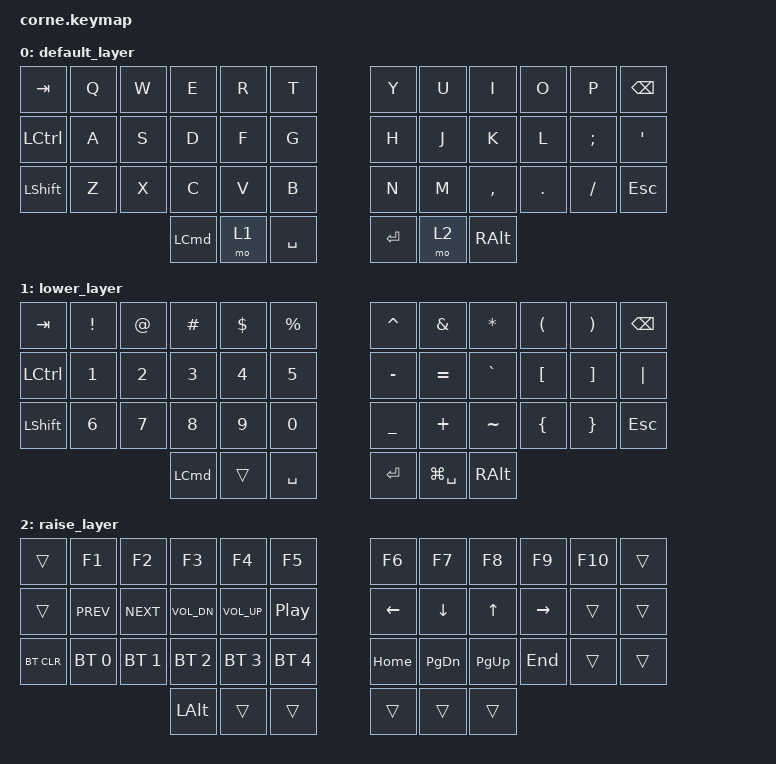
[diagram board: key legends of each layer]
/*
 * Copyright (c) 2020 The ZMK Contributors
 *
 * SPDX-License-Identifier: MIT
 */

#include <behaviors.dtsi>
#include <dt-bindings/zmk/keys.h>
#include <dt-bindings/zmk/bt.h>

/ {
    keymap {
        compatible = "zmk,keymap";

        default_layer {
// -----------------------------------------------------------------------------------------
// |  TAB |  Q  |  W  |  E  |  R  |  T  |   |  Y  |  U   |  I  |  O  |  P  | BKSP |
// | CTRL |  A  |  S  |  D  |  F  |  G  |   |  H  |  J   |  K  |  L  |  ;  |  '   |
// | SHFT |  Z  |  X  |  C  |  V  |  B  |   |  N  |  M   |  ,  |  .  |  /  | ESC  |
//                    | GUI | LWR | SPC |   | ENT | RSE  | ALT |
            bindings = <
    &kp TAB     &kp Q       &kp W       &kp E       &kp R       &kp T       &kp Y   &kp U   &kp I       &kp O       &kp P       &kp BSPC
    &kp LCTRL   &kp A       &kp S       &kp D       &kp F       &kp G       &kp H   &kp J   &kp K       &kp L       &kp SEMI    &kp SQT
    &kp LSHFT   &kp Z       &kp X       &kp C       &kp V       &kp B       &kp N   &kp M   &kp COMMA   &kp DOT     &kp FSLH    &kp ESC
                &kp LCMD    &mo 1       &kp SPACE   &kp RET     &mo 2       &kp RALT
            >;
        };

        lower_layer {
// -----------------------------------------------------------------------------------------
// |  TAB | !  |  @  |  #  |  $  |  %  |   |  ^  |  &  |  *  |  (  |  )  |   \  |
// | CTRL | 1  |  2  |  3  |  4  |  5  |   |  -  |  =  |  `  |  [  |  ]  |  "|" |
// | SHFT | 6  |  7  |  8  |  9  |  0  |   |  _  |  +  |  ~  |  {  |  }  | ESC  |
//                   | GUI |     | SPC |   | ENT | SPOT| ALT |
            bindings = <
    &kp TAB      &kp EXCL    &kp AT     &kp HASH    &kp DLLR    &kp PRCNT   &kp CARET       &kp AMPS        &kp ASTRK   &kp LPAR    &kp RPAR    &kp BSPC
    &kp LCTRL    &kp N1      &kp N2     &kp N3      &kp N4      &kp N5      &kp MINUS       &kp EQUAL       &kp GRAVE   &kp LBKT    &kp RBKT    &kp PIPE
    &kp LSHFT    &kp N6      &kp N7     &kp N8      &kp N9      &kp N0      &kp UNDER       &kp PLUS        &kp TILDE   &kp LBRC    &kp RBRC    &kp ESC
                                        &kp LCMD    &trans      &kp SPACE   &kp RET         &kp LG(SPACE)   &kp RALT
            >;
        };

        raise_layer {
// -----------------------------------------------------------------------------------------
// |       |  F1  |  F2  |  F3  |  F4  | F5  |    |  F6  |  F7  |  F8  |  F9  |  F10  |     |
// |       | Prev | Next | Vol- | Vol+ | P/P |    | LFT  | DWN  |  UP   | RGT |       |     |
// | BTCLR | BT1  | BT2  | BT3  | BT4  | BT5 |    |      |      |      |      |       |     |
//                       |      | LALT |     |    |      |      |      |      |
            bindings = <
    &trans       &kp F1          &kp F2         &kp F3          &kp F4          &kp F5          &kp F6      &kp F7      &kp F8      &kp F9       &kp F10     &trans
    &trans       &kp C_PREV      &kp C_NEXT     &kp C_VOL_DN    &kp C_VOL_UP    &kp C_PP        &kp LEFT    &kp DOWN    &kp UP      &kp RIGHT    &trans      &trans
    &bt BT_CLR   &bt BT_SEL 0    &bt BT_SEL 1   &bt BT_SEL 2    &bt BT_SEL 3    &bt BT_SEL 4    &kp HOME    &kp PG_DN   &kp PG_UP   &kp END      &trans      &trans
                                                &kp LALT        &trans          &trans          &trans      &trans      &trans
            >;
        };
    };
};
